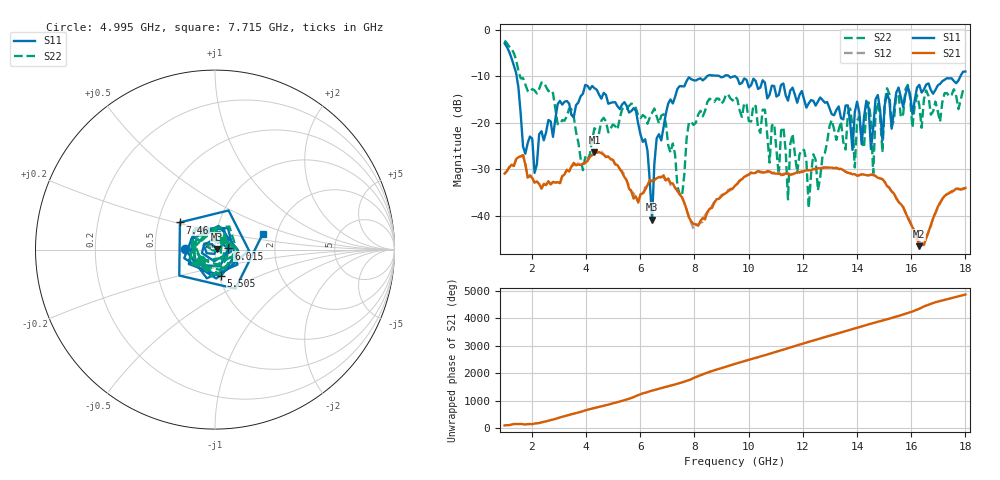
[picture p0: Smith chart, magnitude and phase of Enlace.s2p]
!Keysight Technologies N9917A: A.11.27
!Date: Saturday, 26 October 2019 06:40:47
!Timezone: (UTC-08:00) Pacific Time (US & Canada)
!Model: N9917A
!Serial: MY56072049
!GPS Latitude:
!GPS Longitude:
!GPS TimeStamp: 0001-01-01 00:00:00Z
!GPS Seconds Since Last Read: 0
!CHECKSUM:0077097701
!Correction: S11(Rdy)S21(Rdy)S12(Rdy)S22(Rdy)
!S2P File: Measurements:S11,S21,S12,S22:
# Hz S DB R 50
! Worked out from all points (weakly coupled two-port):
!   201 points, 1 GHz to 18 GHz, reference 50 ohm
!   highest |S21| = -26.28 dB at 4.315 GHz (marker M1); lowest = -46.5 dB at 16.3 GHz (marker M2)
!   lowest |S11| = -40.8 dB at 6.44 GHz (marker M3), VSWR 1.02, Z = 50.8 + j0.379 ohm
!   |S11| at or under -10 dB: 1.444 GHz to 8.475 GHz (7.031 GHz wide, 142 % of centre); 8.925 GHz to 9.11 GHz (184.2 MHz wide, 2.04 % of centre); 9.5 GHz to 17.82 GHz (8.318 GHz wide, 60.9 % of centre) (the widest 3 of 4)
!   |S22| runs from -38.3 to -2.3 dB; largest |S21 - S12| = 0.0028
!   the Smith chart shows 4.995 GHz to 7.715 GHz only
!   S11 on the Smith chart (normalised r, x): 4.995 GHz: 0.72, +0.00; 5.505 GHz: 1.02, -0.31; 6.015 GHz: 1.16, +0.02; 7.46 GHz: 0.65, +0.21; 7.715 GHz: 1.69, +0.32
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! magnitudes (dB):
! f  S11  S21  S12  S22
! 1 GHz  -3.0  -30.9  -31.0  -2.3
! 2.105 GHz  -30.7  -32.8  -32.9  -13.0
! 3.89 GHz  -13.8  -28.8  -28.9  -30.2
! 4.315 GHz  -12.6  -26.3  -26.2  -21.2
! 4.995 GHz  -15.6  -28.0  -28.0  -20.4
! 5.505 GHz  -16.4  -32.4  -32.5  -17.0
! 6.015 GHz  -22.6  -35.3  -35.5  -19.0
! 6.44 GHz  -40.8  -32.5  -32.4  -17.9
! 6.695 GHz  -22.5  -31.6  -31.7  -20.2
! 7.46 GHz  -12.1  -35.4  -35.5  -35.4
! 7.715 GHz  -11.0  -38.6  -38.8  -23.3
! 9.5 GHz  -10.0  -33.5  -33.5  -14.4
! 11.29 GHz  -11.6  -31.2  -30.9  -20.9
! 11.46 GHz  -15.3  -31.0  -30.7  -36.4
! 11.62 GHz  -12.5  -31.0  -31.0  -22.4
! 12.22 GHz  -15.8  -30.2  -30.2  -38.3
! 12.39 GHz  -15.3  -29.9  -29.9  -26.8
! 14.43 GHz  -16.8  -31.3  -31.2  -15.6
! 14.6 GHz  -21.0  -31.2  -31.1  -30.9
! 15.2 GHz  -15.2  -34.0  -33.9  -13.8
! 16.3 GHz  -11.9  -46.5  -45.5  -16.2
! 18 GHz  -9.0  -34.0  -34.2  -13.5
